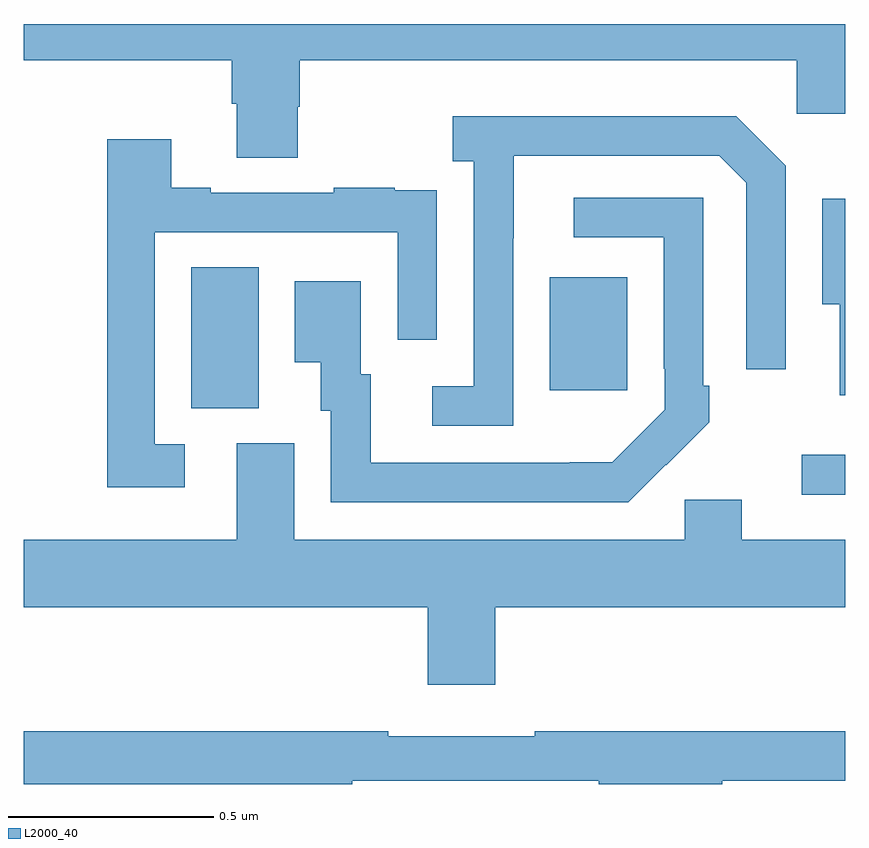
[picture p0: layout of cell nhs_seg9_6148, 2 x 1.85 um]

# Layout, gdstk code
import gdstk
lib = gdstk.Library(unit=1e-6, precision=1e-09)
def R(c, l, rs):  # rectangles x0, y0, x1, y1
    for r in rs: c.add(gdstk.rectangle(r[:2], r[2:], *l))
def P(c, l, *ps):  # polygons
    for p in ps: c.add(gdstk.Polygon(p, *l))
L2000_40 = (2000, 40)

nhs_seg9_6148 = lib.new_cell('nhs_seg9_6148')
R(nhs_seg9_6148, L2000_40, [(189.894,1203.354,190,1203.451), (188.408,1203.565,188.572,1203.908), (189.281,1203.609,189.469,1203.883)])
P(nhs_seg9_6148, L2000_40, [(188.667,1204.299),(188.672,1204.299),(188.672,1204.412),(189.882,1204.412),(189.882,1204.281),(190,1204.281),(190,1204.5),(188,1204.5),(188,1204.412),(188.507,1204.412),(188.507,1204.306),(188.519,1204.306),(188.519,1204.174),(188.667,1204.174)],
  [(189.192,1203.979),(189.193,1203.979),(189.193,1204.179),(189.693,1204.179),(189.759,1204.113),(189.759,1203.66),(189.855,1203.66),(189.855,1204.155),(189.734,1204.276),(189.045,1204.276),(189.045,1204.166),(189.096,1204.166),(189.096,1203.618),(188.994,1203.618),(188.994,1203.522),(189.192,1203.522)],
  [(188.392,1203.477),(188.319,1203.477),(188.319,1203.993),(188.91,1203.993),(188.91,1203.732),(189.006,1203.732),(189.006,1203.986),(189.005,1203.986),(189.005,1204.095),(188.903,1204.095),(188.903,1204.102),(188.755,1204.102),(188.755,1204.089),(188.455,1204.089),(188.455,1204.102),(188.359,1204.102),(188.359,1204.219),(188.203,1204.219),(188.203,1203.372),(188.392,1203.372)],
  [(189.563,1203.427),(189.564,1203.426),(189.669,1203.531),(189.669,1203.619),(189.654,1203.619),(189.654,1204.077),(189.339,1204.077),(189.339,1203.981),(189.558,1203.981),(189.558,1203.661),(189.561,1203.661),(189.561,1203.561),(189.433,1203.433),(189.329,1203.433),(189.329,1203.432),(188.845,1203.432),(188.845,1203.648),(188.821,1203.648),(188.821,1203.874),(188.66,1203.874),(188.66,1203.677),(188.723,1203.677),(188.723,1203.558),(188.748,1203.558),(188.748,1203.336),(189.472,1203.336)],
  [(190,1204.075),(189.944,1204.075),(189.944,1203.818),(189.986,1203.818),(189.986,1203.596),(190,1203.596)],
  [(189.148,1203.08),(190,1203.08),(190,1203.244),(189.748,1203.244),(189.748,1203.342),(189.609,1203.342),(189.609,1203.244),(188.659,1203.244),(188.659,1203.48),(188.519,1203.48),(188.519,1203.244),(188,1203.244),(188,1203.08),(188.984,1203.08),(188.984,1202.892),(189.148,1202.892)],
  [(188.8,1202.658),(189.4,1202.658),(189.4,1202.65),(189.7,1202.65),(189.7,1202.658),(190,1202.658),(190,1202.779),(189.244,1202.779),(189.244,1202.766),(188.888,1202.766),(188.888,1202.779),(188,1202.779),(188,1202.65),(188.8,1202.65)])

lib.write_gds('nhs_seg9_6148.gds')
